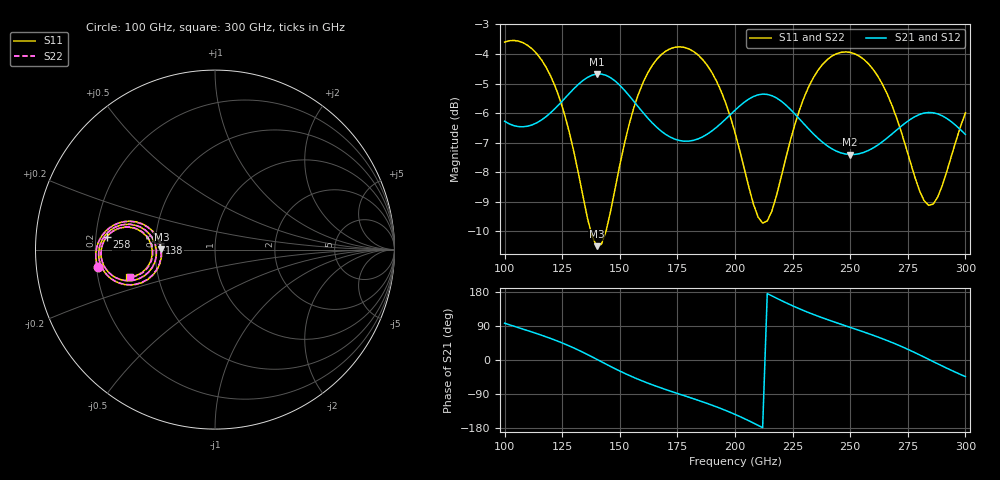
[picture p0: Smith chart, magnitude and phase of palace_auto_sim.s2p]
#  GHZ S DB R 50
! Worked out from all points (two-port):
!   101 points, 100 GHz to 300 GHz, reference 50 ohm
!   highest |S21| = -4.68 dB at 140 GHz (marker M1); lowest = -7.4 dB at 250 GHz (marker M2)
!   |S21| within 3 dB of the highest: start of sweep to end of sweep
!   lowest |S11| = -10.5 dB at 140 GHz (marker M3), VSWR 1.85, Z = 27 + j0.0467 ohm
!   |S11| at or under -10 dB: 137.4 GHz to 144 GHz (6.569 GHz wide, 4.67 % of centre)
!   |S22| runs from -10.4 to -3.5 dB; largest |S21 - S12| = 7.9e-14
!   S11 on the Smith chart (normalised r, x): 100 GHz: 0.21, -0.07; 138 GHz: 0.53, +0.05; 258 GHz: 0.25, +0.06; 300 GHz: 0.34, -0.14
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100  -3.60 -171.7  -6.28 97.1  -6.28 97.1  -3.59 -171.7
110  -3.71 176.8  -6.44 77.6  -6.44 77.6  -3.70 176.9
120  -4.75 166.3  -5.98 56.8  -5.98 56.8  -4.74 166.4
128  -6.62 160.6  -5.34 37.3  -5.34 37.3  -6.60 160.8
134  -8.81 163.4  -4.90 20.4  -4.90 20.4  -8.76 163.6
138  -10.17 172.8  -4.72 8.1  -4.72 8.1  -10.11 172.9
140  -10.50 179.8  -4.68 1.9  -4.68 1.9  -10.43 179.9
146  -9.32 -160.8  -4.80 -17.0  -4.80 -17.0  -9.27 -161.1
154  -6.39 -156.2  -5.40 -40.4  -5.40 -40.4  -6.38 -156.4
168  -4.02 -168.7  -6.61 -73.9  -6.61 -73.9  -4.02 -168.9
184  -4.03 174.6  -6.87 -106.4  -6.87 -106.4  -4.03 174.5
200  -6.66 163.0  -5.90 -143.5  -5.90 -143.5  -6.66 162.9
208  -9.07 170.1  -5.44 -166.3  -5.44 -166.3  -9.08 170.0
214  -9.65 -173.5  -5.37 175.4  -5.37 175.4  -9.65 -173.6
224  -6.93 -159.0  -5.87 145.8  -5.87 145.8  -6.94 -159.1
234  -4.80 -164.2  -6.70 120.3  -6.70 120.3  -4.81 -164.3
250  -3.95 -179.4  -7.40 86.2  -7.40 86.2  -3.95 -179.5
258  -4.34 173.2  -7.26 69.5  -7.26 69.5  -4.35 173.1
268  -5.71 166.1  -6.71 46.6  -6.71 46.6  -5.73 165.9
284  -9.12 -179.7  -5.98 2.0  -5.98 2.0  -9.19 -179.7
290  -8.44 -166.9  -6.09 -16.0  -6.09 -16.0  -8.51 -166.7
300  -5.99 -162.2  -6.72 -43.7  -6.72 -43.7  -6.02 -161.9
